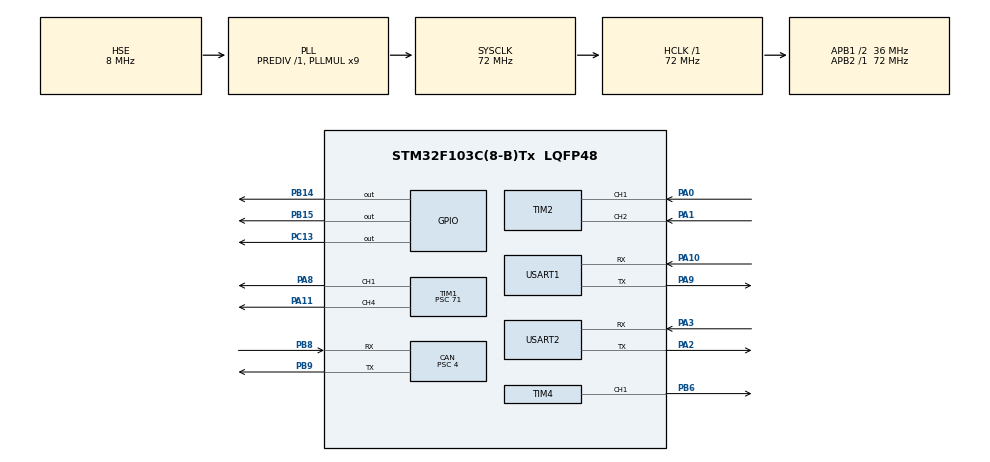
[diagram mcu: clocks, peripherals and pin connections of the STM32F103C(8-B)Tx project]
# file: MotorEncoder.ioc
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CAN.BS1=CAN_BS1_15TQ
CAN.BS2=CAN_BS2_2TQ
CAN.CalculateBaudRate=500000
CAN.CalculateTimeBit=2000
CAN.CalculateTimeQuantum=111.11111111111111
CAN.Mode=CAN_MODE_NORMAL
CAN.Prescaler=4
FREERTOS.Tasks01=mControl_PIDTas,40,128,Control_PIDTask,Default,NULL,Dynamic,NULL,NULL;mCAN_RecTask,8,128,CAN_RecTask,Default,NULL,Dynamic,NULL,NULL;myCAN_TransmitT,24,128,CAN_TransmitTask,Default,NULL,Dynamic,NULL,NULL
Mcu.Family=STM32F1
Mcu.Name=STM32F103C(8-B)Tx
Mcu.Package=LQFP48
Mcu.UserConstants=Servo_PWM,500
NVIC.PriorityGroup=NVIC_PRIORITYGROUP_4
NVIC.TIM2_IRQn=true\:5\:0\:false\:false\:true\:true\:true\:true\:true
NVIC.TIM3_IRQn=true\:15\:0\:false\:false\:true\:false\:false\:true\:true
NVIC.TimeBase=TIM3_IRQn
NVIC.TimeBaseIP=TIM3
NVIC.USB_HP_CAN1_TX_IRQn=true\:5\:0\:false\:false\:true\:true\:true\:true\:true
NVIC.USB_LP_CAN1_RX0_IRQn=true\:5\:0\:false\:false\:true\:true\:true\:true\:true
PA0-WKUP.Signal=S_TIM2_CH1_ETR
PA1.Signal=S_TIM2_CH2
PA10.Mode=Asynchronous
PA10.Signal=USART1_RX
PA11.Signal=S_TIM1_CH4
PA13.Mode=Serial_Wire
PA13.Signal=SYS_JTMS-SWDIO
PA14.Mode=Serial_Wire
PA14.Signal=SYS_JTCK-SWCLK
PA2.Mode=Asynchronous
PA2.Signal=USART2_TX
PA3.Mode=Asynchronous
PA3.Signal=USART2_RX
PA8.Signal=S_TIM1_CH1
PA9.Mode=Asynchronous
PA9.Signal=USART1_TX
PB14.Signal=GPIO_Output
PB15.Signal=GPIO_Output
PB6.Signal=S_TIM4_CH1
PB8.Mode=CAN_Activate
PB8.Signal=CAN_RX
PB9.Mode=CAN_Activate
PB9.Signal=CAN_TX
PC13-TAMPER-RTC.Signal=GPIO_Output
PD0-OSC_IN.Mode=HSE-External-Oscillator
PD0-OSC_IN.Signal=RCC_OSC_IN
PD1-OSC_OUT.Mode=HSE-External-Oscillator
PD1-OSC_OUT.Signal=RCC_OSC_OUT
ProjectManager.HeapSize=0x200
ProjectManager.StackSize=0x400
ProjectManager.TargetToolchain=STM32CubeIDE
RCC.AHBFreq_Value=72000000
RCC.APB1CLKDivider=RCC_HCLK_DIV2
RCC.APB1Freq_Value=36000000
RCC.APB1TimFreq_Value=72000000
RCC.APB2Freq_Value=72000000
RCC.APB2TimFreq_Value=72000000
RCC.HCLKFreq_Value=72000000
RCC.PLLMUL=RCC_PLL_MUL9
RCC.PLLSourceVirtual=RCC_PLLSOURCE_HSE
RCC.SYSCLKFreq_VALUE=72000000
RCC.SYSCLKSource=RCC_SYSCLKSOURCE_PLLCLK
RCC.USBFreq_Value=72000000
SH.S_TIM1_CH1.0=TIM1_CH1,PWM Generation1 CH1
SH.S_TIM1_CH4.0=TIM1_CH4,PWM Generation4 CH4
SH.S_TIM2_CH1_ETR.0=TIM2_CH1,Encoder_Interface
SH.S_TIM2_CH2.0=TIM2_CH2,Encoder_Interface
SH.S_TIM4_CH1.0=TIM4_CH1,PWM Generation1 CH1
TIM1.Channel-PWM\ Generation1\ CH1=TIM_CHANNEL_1
TIM1.Channel-PWM\ Generation4\ CH4=TIM_CHANNEL_4
TIM1.Period=99
TIM1.Prescaler=71
TIM2.EncoderMode=TIM_ENCODERMODE_TI12
TIM4.Channel-PWM\ Generation1\ CH1=TIM_CHANNEL_1
TIM4.Period=1000
TIM4.Prescaler=1439
USART1.VirtualMode=VM_ASYNC
USART2.VirtualMode=VM_ASYNC
VP_FREERTOS_VS_CMSIS_V2.Mode=CMSIS_V2
VP_SYS_VS_tim3.Mode=TIM3
VP_TIM1_VS_ClockSourceINT.Mode=Internal
VP_TIM4_VS_ClockSourceINT.Mode=Internal
board=custom

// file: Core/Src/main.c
/* USER CODE BEGIN Header */
/**
  ******************************************************************************
  * @file           : main.c
  * @brief          : Main program body
  ******************************************************************************
  * @attention
  *
  * Copyright (c) 2023 STMicroelectronics.
  * All rights reserved.
  *
  * This software is licensed under terms that can be found in the LICENSE file
  * in the root directory of this software component.
  * If no LICENSE file comes wi th this software, it is provided AS-IS.
  *
  ******************************************************************************
  */
/* USER CODE END Header */
#include "main.h"
#include "cmsis_os.h"
#include "can.h"
#include "tim.h"
#include "usart.h"
#include "gpio.h"

/* USER CODE BEGIN Includes */
#include <stdio.h>
/* USER CODE END Includes */

void SystemClock_Config(void);
void MX_FREERTOS_Init(void);

int main(void)
{

  /* MCU Configuration--------------------------------------------------------*/

  /* Reset of all peripherals, Initializes the Flash interface and the Systick. */
  HAL_Init();

  /* Configure the system clock */
  SystemClock_Config();

  /* Initialize all configured peripherals */
  MX_GPIO_Init();
  MX_TIM2_Init();
  MX_TIM1_Init();
  MX_TIM4_Init();
  MX_CAN_Init();
  MX_USART1_UART_Init();
  MX_USART2_UART_Init();
  /* USER CODE BEGIN 2 */
  HAL_TIM_PWM_Start(&htim4, TIM_CHANNEL_1);
  HAL_TIM_PWM_Start(&htim1, TIM_CHANNEL_1);
  HAL_TIM_PWM_Start(&htim1, TIM_CHANNEL_4);
  HAL_TIM_Encoder_Start_IT(&htim2, TIM_CHANNEL_ALL);
  CAN_Config_filtering();
 if(HAL_CAN_ActivateNotification(&hcan, CAN_IT_TX_MAILBOX_EMPTY|CAN_IT_RX_FIFO0_MSG_PENDING)!=HAL_OK){
	 printf("Start CAN IT Error");
 }
  if(HAL_CAN_Start(&hcan)!=HAL_OK){
	 printf("Start CAN Error");
 }
  /* USER CODE END 2 */

  /* Init scheduler */
  osKernelInitialize();

  /* Call init function for freertos objects (in freertos.c) */
  MX_FREERTOS_Init();

  /* Start scheduler */
  osKernelStart();

  /* We should never get here as control is now taken by the scheduler */
  /* Infinite loop */
  while (1)
   {

   }
}

void SystemClock_Config(void)
{
  RCC_OscInitTypeDef RCC_OscInitStruct = {0};
  RCC_ClkInitTypeDef RCC_ClkInitStruct = {0};

  /** Initializes the RCC Oscillators according to the specified parameters
  * in the RCC_OscInitTypeDef structure.
  */
  RCC_OscInitStruct.OscillatorType = RCC_OSCILLATORTYPE_HSE;
  RCC_OscInitStruct.HSEState = RCC_HSE_ON;
  RCC_OscInitStruct.HSEPredivValue = RCC_HSE_PREDIV_DIV1;
  RCC_OscInitStruct.HSIState = RCC_HSI_ON;
  RCC_OscInitStruct.PLL.PLLState = RCC_PLL_ON;
  RCC_OscInitStruct.PLL.PLLSource = RCC_PLLSOURCE_HSE;
  RCC_OscInitStruct.PLL.PLLMUL = RCC_PLL_MUL9;
  if (HAL_RCC_OscConfig(&RCC_OscInitStruct) != HAL_OK)
  {
    Error_Handler();
  }

  /** Initializes the CPU, AHB and APB buses clocks
  */
  RCC_ClkInitStruct.ClockType = RCC_CLOCKTYPE_HCLK|RCC_CLOCKTYPE_SYSCLK
                              |RCC_CLOCKTYPE_PCLK1|RCC_CLOCKTYPE_PCLK2;
  RCC_ClkInitStruct.SYSCLKSource = RCC_SYSCLKSOURCE_PLLCLK;
  RCC_ClkInitStruct.AHBCLKDivider = RCC_SYSCLK_DIV1;
  RCC_ClkInitStruct.APB1CLKDivider = RCC_HCLK_DIV2;
  RCC_ClkInitStruct.APB2CLKDivider = RCC_HCLK_DIV1;

  if (HAL_RCC_ClockConfig(&RCC_ClkInitStruct, FLASH_LATENCY_2) != HAL_OK)
  {
    Error_Handler();
  }
}

void HAL_TIM_PeriodElapsedCallback(TIM_HandleTypeDef *htim)
{
  if (htim->Instance == TIM3) {
    HAL_IncTick();
  }
}

void Error_Handler(void)
{
  __disable_irq();
  while (1)
  {
  }
}

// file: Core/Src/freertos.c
/* USER CODE BEGIN Header */
/**
  ******************************************************************************
  * File Name          : freertos.c
  * Description        : Code for freertos applications
  ******************************************************************************
  * @attention
  *
  * Copyright (c) 2023 STMicroelectronics.
  * All rights reserved.
  *
  * This software is licensed under terms that can be found in the LICENSE file
  * in the root directory of this software component.
  * If no LICENSE file comes with this software, it is provided AS-IS.
  *
  ******************************************************************************
  */
/* USER CODE END Header */

#include "FreeRTOS.h"
#include "task.h"
#include "main.h"
#include "cmsis_os.h"

/* USER CODE BEGIN Includes */
#include <stdio.h>
#include "Motor_Driver.h"
#include <string.h>
#include "EncoderVelocity.h"
#include "PID.h"
#include "CAN_Handle.h"
#include "tim.h"
#include "Steering.h"
#include "usart.h"
/* USER CODE END Includes */

/* USER CODE BEGIN Variables */
extern volatile uint8_t rcdata[8];
extern uint8_t Can_RecFlag;
  double VelSetpoint;
  Encoder Enco;
  double speed;
  double PIDOut,PWM;
  PID_TypeDef TPID;
  VNH3SP30_t driver;
//
  double SteeSetpoint,SteeOut,SPWM,Steering;
  PID_TypeDef SPID;
  double Steering;
  	double SteeringAngle;
  	double SteeringControl;
//
volatile uint8_t Servo=0;
/* USER CODE END Variables */
/* Definitions for mControl_PIDTas */
osThreadId_t mControl_PIDTasHandle;
const osThreadAttr_t mControl_PIDTas_attributes = {
  .name = "mControl_PIDTas",
  .stack_size = 128 * 4,
  .priority = (osPriority_t) osPriorityHigh,
};
/* Definitions for mCAN_RecTask */
osThreadId_t mCAN_RecTaskHandle;
const osThreadAttr_t mCAN_RecTask_attributes = {
  .name = "mCAN_RecTask",
  .stack_size = 128 * 4,
  .priority = (osPriority_t) osPriorityLow,
};
/* Definitions for myCAN_TransmitT */
osThreadId_t myCAN_TransmitTHandle;
const osThreadAttr_t myCAN_TransmitT_attributes = {
  .name = "myCAN_TransmitT",
  .stack_size = 128 * 4,
  .priority = (osPriority_t) osPriorityNormal,
};

void Control_PIDTask(void *argument);
void CAN_RecTask(void *argument);
void CAN_TransmitTask(void *argument);

void MX_FREERTOS_Init(void); /* (MISRA C 2004 rule 8.1) */

void MX_FREERTOS_Init(void) {

  /* Create the thread(s) */
  /* creation of mControl_PIDTas */
  mControl_PIDTasHandle = osThreadNew(Control_PIDTask, NULL, &mControl_PIDTas_attributes);

  /* creation of mCAN_RecTask */
  mCAN_RecTaskHandle = osThreadNew(CAN_RecTask, NULL, &mCAN_RecTask_attributes);

  /* creation of myCAN_TransmitT */
  myCAN_TransmitTHandle = osThreadNew(CAN_TransmitTask, NULL, &myCAN_TransmitT_attributes);

}

void Control_PIDTask(void *argument)
{
  /* USER CODE BEGIN Control_PIDTask */
	uint32_t Time=20;
	VelSetpoint = 5;
	VNH3SP30_Init(&driver);
	Encoder_Init(&Enco);
	PID(&TPID, &speed, &PIDOut, &VelSetpoint, 4, 0, 3, _PID_P_ON_E, _PID_CD_DIRECT);
	PID_SetMode(&TPID, _PID_MODE_AUTOMATIC);
	PID_SetSampleTime(&TPID, Time);
	PID_SetOutputLimits(&TPID, -1, 1);
  /* Infinite loop */
  for(;;)
  {
	  if(Servo==1){
	  PWM += PIDOut;
	  VNH3SP30_SetSpeed(&driver,PWM);
	  Encoder_CaculateSpeed(&Enco,Time);
	  speed=Get_Speed(&Enco);
	  PID_Compute(&TPID);
	  }
	  osDelay(Time);
  }
  /* USER CODE END Control_PIDTask */
}
void CAN_RecTask(void *argument)
{
  /* USER CODE BEGIN CAN_RecTask */
  /* Infinite loop */
  for(;;)
  {
//		uint32_t len =sprintf(msg,"Steecontrol: %d | SPWM: %d\r\n",(int16_t)SteeringControl,(int16_t)SPWM);
//		HAL_UART_Transmit(&huart2,(uint8_t*) msg, len, HAL_MAX_DELAY);
    osDelay(50);
  }
  /* USER CODE END CAN_RecTask */
}

void CAN_TransmitTask(void *argument)
{
  /* USER CODE BEGIN CAN_TransmitTask */
	SteeSetpoint = 0;
	SPWM=STRAIGHTANGLE;
	uint32_t Time=15;
	PID(&SPID, &SteeringControl, &SteeOut, &SteeSetpoint, KP ,KI,KD , _PID_P_ON_E, _PID_CD_DIRECT);
	PID_SetMode(&SPID, _PID_MODE_AUTOMATIC);
	PID_SetSampleTime(&SPID, Time);
	PID_SetOutputLimits(&SPID, -5, 5);
	__HAL_TIM_SET_COMPARE(&htim4,TIM_CHANNEL_1,STRAIGHTANGLE);
  /* Infinite loop */
  for(;;)
  {
	  if(Can_RecFlag==1){
//		  Steering=(double)rcdata[0]/255;
//		  SteeringAngle=Steering*360;
//		  SteeringControl= convertAngle(SteeringAngle);
//	  	  SPWM-=SteeOut;
//	  	  if(SPWM>LEFTLIMIT){
//	  		SPWM=LEFTLIMIT;
//	  	  }
//	  	  if(SPWM<RIGHTLIMIT)
//	  	  {
//	  		SPWM=RIGHTLIMIT;
//	  	  }
		  Steering_PIDControl(rcdata, &Steering, &SteeringControl, &SPWM, &SteeOut);
		  Servo=1;
		  PID_Compute(&SPID);
		  Steering_Control(SPWM);
	  	  }
	  osDelay(Time);
  }
  /* USER CODE END CAN_TransmitTask */
}
